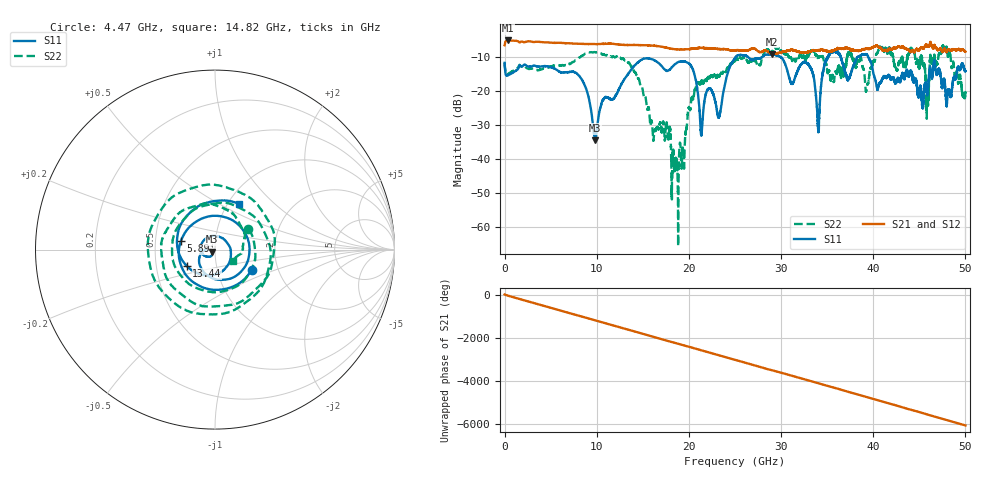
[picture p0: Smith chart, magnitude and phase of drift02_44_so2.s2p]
!Created with skrf (http://scikit-rf.org).
# Hz S RI R 50.0
!freq ReS11 ImS11 ReS21 ImS21 ReS12 ImS12 ReS22 ImS22
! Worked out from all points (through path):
!   10001 points, 300 kHz to 50 GHz, reference 50 ohm
!   highest |S21| = -5.04 dB at 325.3 MHz (marker M1); lowest = -9.0 dB at 29.05 GHz (marker M2)
!   group delay of S21, straight-line fit = 336 ps
!   lowest |S11| = -34.5 dB at 9.84 GHz (marker M3), VSWR 1.04, Z = 48.5 - j1.04 ohm
!   |S11| at or under -10 dB: start of sweep to 25.07 GHz; 29.97 GHz to 35.06 GHz (5.092 GHz wide, 15.7 % of centre); 39.48 GHz to end of sweep (the widest 3 of 9)
!   |S22| runs from -65.8 to -6.5 dB; largest |S21 - S12| = 0.021
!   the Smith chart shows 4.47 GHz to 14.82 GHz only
!   S11 on the Smith chart (normalised r, x): 4.47 GHz: 1.46, -0.35; 5.89 GHz: 0.68, +0.07; 13.44 GHz: 0.72, -0.14; 14.82 GHz: 1.12, +0.63
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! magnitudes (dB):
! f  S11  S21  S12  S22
! 300 kHz  -11.7  -6.5  -6.5  -11.6
! 325.3 MHz  -15.4  -5.0  -5.0  -15.0
! 4.47 GHz  -12.7  -5.6  -5.6  -13.2
! 5.89 GHz  -14.2  -5.7  -5.7  -12.5
! 8.335 GHz  -16.4  -6.1  -6.0  -9.6
! 9.84 GHz  -34.5  -6.1  -6.1  -8.5
! 13.44 GHz  -14.8  -6.4  -6.4  -11.6
! 14.82 GHz  -10.8  -6.4  -6.4  -18.5
! 16.67 GHz  -11.6  -6.7  -6.7  -31.0
! 18.66 GHz  -11.7  -7.7  -7.7  -40.3
! 20.37 GHz  -13.3  -7.5  -7.5  -21.8
! 21.37 GHz  -32.7  -7.2  -7.3  -17.0
! 23.31 GHz  -27.2  -7.5  -7.6  -15.6
! 25 GHz  -10.3  -8.0  -8.0  -11.2
! 29.05 GHz  -9.1  -9.0  -9.0  -8.2
! 33.34 GHz  -13.9  -8.1  -8.1  -8.1
! 34.02 GHz  -31.1  -7.9  -7.9  -10.1
! 35.54 GHz  -8.4  -8.1  -8.1  -15.3
! 41.67 GHz  -15.3  -7.7  -7.8  -7.3
! 45.86 GHz  -21.3  -6.7  -6.7  -20.5
! 47.76 GHz  -17.2  -7.5  -7.5  -7.5
! 50 GHz  -14.1  -8.4  -8.4  -20.7
